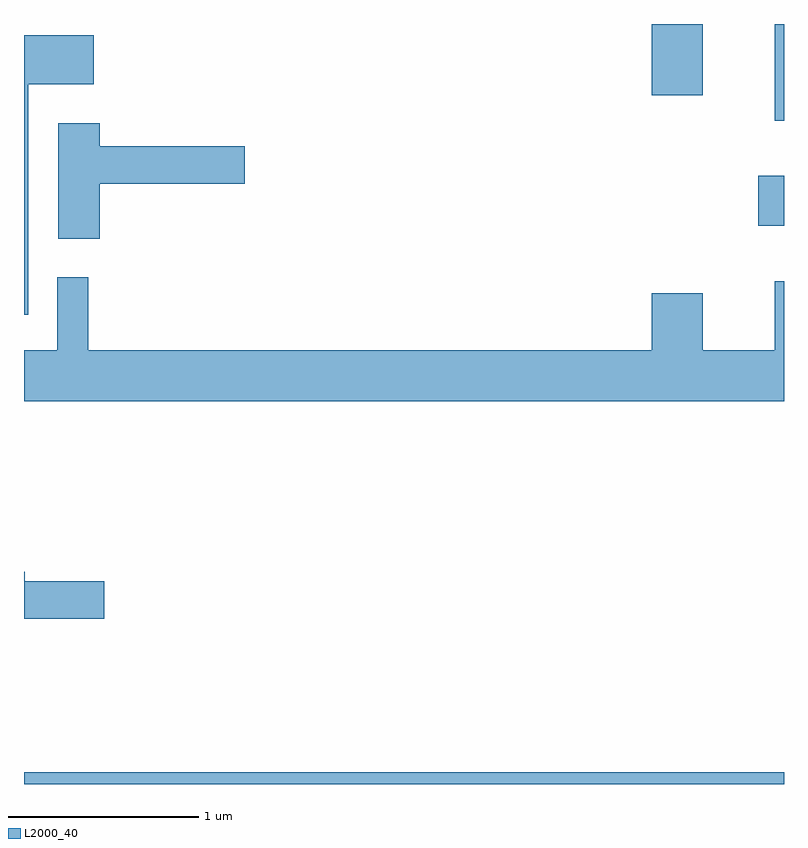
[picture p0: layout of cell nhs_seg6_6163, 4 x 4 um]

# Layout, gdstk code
import gdstk
lib = gdstk.Library(unit=1e-6, precision=1e-09)
def R(c, l, rs):  # rectangles x0, y0, x1, y1
    for r in rs: c.add(gdstk.rectangle(r[:2], r[2:], *l))
def P(c, l, *ps):  # polygons
    for p in ps: c.add(gdstk.Polygon(p, *l))
L2000_40 = (2000, 40)

nhs_seg6_6163 = lib.new_cell('nhs_seg6_6163')
R(nhs_seg6_6163, L2000_40, [(371.611,1630.162,375.611,1630.224), (375.476,1633.101,375.611,1633.364), (375.561,1633.653,375.611,1634.162), (374.916,1633.786,375.184,1634.162)])
P(nhs_seg6_6163, L2000_40, [(371.634,1633.846),(371.979,1633.846),(371.979,1634.104),(371.611,1634.104),(371.611,1632.631),(371.634,1632.631)],
  [(372.009,1633.321),(372.774,1633.321),(372.774,1633.519),(372.009,1633.519),(372.009,1633.639),(371.791,1633.639),(371.791,1633.031),(372.009,1633.031)],
  [(375.611,1632.808),(375.561,1632.808),(375.561,1632.444),(375.184,1632.444),(375.184,1632.744),(374.916,1632.744),(374.916,1632.444),(371.949,1632.444),(371.949,1632.828),(371.786,1632.828),(371.786,1632.444),(371.611,1632.444),(371.611,1632.176),(375.611,1632.176)],
  [(372.034,1631.229),(371.614,1631.229),(371.614,1631.279),(371.611,1631.279),(371.611,1631.031),(372.034,1631.031)])

lib.write_gds('nhs_seg6_6163.gds')
